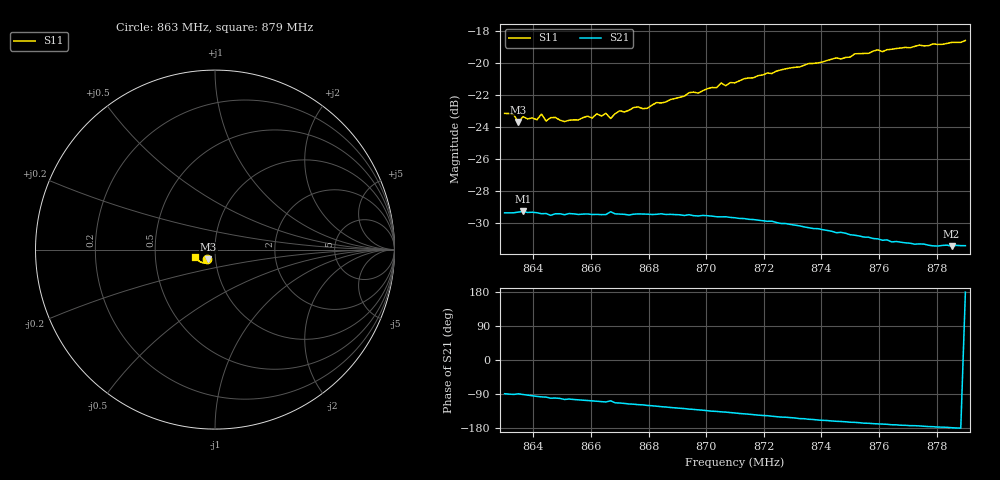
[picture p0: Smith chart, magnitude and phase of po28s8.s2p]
# HZ S RI R 50
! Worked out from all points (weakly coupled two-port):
!   101 points, 863 MHz to 879 MHz, reference 50 ohm
!   highest |S21| = -29.25 dB at 863.64 MHz (marker M1); lowest = -31.4 dB at 878.52 MHz (marker M2)
!   lowest |S11| = -23.7 dB at 863.48 MHz (marker M3), VSWR 1.14, Z = 46.1 - j4.98 ohm
!   |S11| at or under -10 dB: start of sweep to end of sweep
!   S12 and S22 are empty: the file has one direction only
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8.63e8  -0.0448 -0.0533  0.000617 -0.0341  0 0  0 0
8.6332e8  -0.043 -0.0538  -0.000486 -0.0341  0 0  0 0
8.6348e8  -0.0374 -0.0537  0.000531 -0.0343  0 0  0 0
8.6364e8  -0.0405 -0.0548  -0.000675 -0.0344  0 0  0 0
8.6412e8  -0.0388 -0.054  -0.00358 -0.0339  0 0  0 0
8.6428e8  -0.0412 -0.0557  -0.0043 -0.0336  0 0  0 0
8.6444e8  -0.0394 -0.0529  -0.00471 -0.0336  0 0  0 0
8.6476e8  -0.0396 -0.0549  -0.00612 -0.0333  0 0  0 0
8.6508e8  -0.0366 -0.0546  -0.00822 -0.0326  0 0  0 0
8.6572e8  -0.0352 -0.0577  -0.00938 -0.0325  0 0  0 0
8.6652e8  -0.0346 -0.0605  -0.012 -0.0315  0 0  0 0
8.6668e8  -0.0287 -0.0607  -0.0104 -0.0328  0 0  0 0
8.67e8  -0.0361 -0.0611  -0.0135 -0.031  0 0  0 0
8.6844e8  -0.0372 -0.0652  -0.0185 -0.0284  0 0  0 0
8.7036e8  -0.0444 -0.0711  -0.0237 -0.0232  0 0  0 0
8.7052e8  -0.0462 -0.0733  -0.0241 -0.0227  0 0  0 0
8.7068e8  -0.045 -0.0721  -0.0245 -0.0224  0 0  0 0
8.71e8  -0.0483 -0.0721  -0.0252 -0.0212  0 0  0 0
8.7372e8  -0.0678 -0.0731  -0.0281 -0.0119  0 0  0 0
8.7644e8  -0.0921 -0.0609  -0.0273 -0.00439  0 0  0 0
8.7852e8  -0.107 -0.0448  -0.0268 -0.000629  0 0  0 0
8.79e8  -0.1109 -0.0392  -0.0269 0.000408  0 0  0 0
